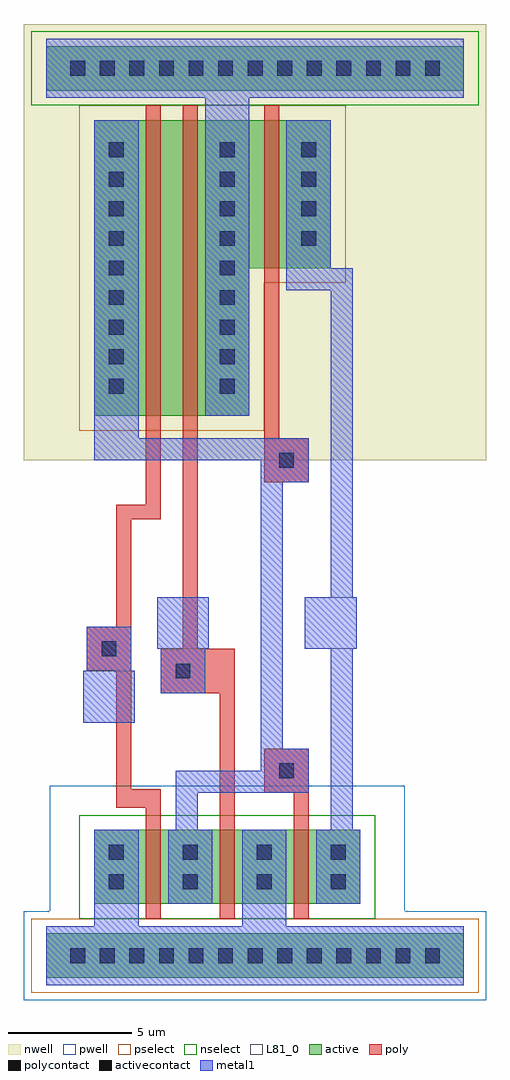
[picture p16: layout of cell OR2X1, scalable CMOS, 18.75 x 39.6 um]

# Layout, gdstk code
import gdstk
lib = gdstk.Library(unit=1e-6, precision=1e-09)
def R(c, l, rs):  # rectangles x0, y0, x1, y1
    for r in rs: c.add(gdstk.rectangle(r[:2], r[2:], *l))
def A(c, l, x, y, w, h, nx, ny, dx, dy):  # array of equal rectangles
    R(c, l, [(x+i*dx, y+j*dy, x+i*dx+w, y+j*dy+h) for i in range(nx) for j in range(ny)])
pwell = (41, 0)
nwell = (42, 0)
active = (43, 0)
pselect = (44, 0)
nselect = (45, 0)
poly = (46, 0)
polycontact = (47, 0)
activecontact = (48, 0)
metal1 = (49, 0)
L81_0 = (81, 0)

or2x1 = lib.new_cell('OR2X1')
R(or2x1, pwell, [(-1.95,-1.8,16.8,1.8), (-0.9,1.8,13.5,6.9)])
R(or2x1, nwell, [(-1.95,20.1,16.8,37.8)])
R(or2x1, active, [(-1.05,-0.9,15.9,0.9), (0.9,2.1,11.7,5.1), (0.9,21.9,7.2,27.9), (0.9,27.9,10.5,33.9), (-1.05,35.1,15.9,36.9)])
R(or2x1, pselect, [(-1.65,-1.5,16.5,1.5), (0.3,21.3,7.8,27.3), (0.3,27.3,11.1,34.5)])
R(or2x1, nselect, [(0.3,1.5,12.3,5.7), (-1.65,34.5,16.5,37.5)])
R(or2x1, poly, [(3,1.5,3.6,6), (6,1.5,6.6,10.65), (9,1.5,9.6,6.6), (1.8,6,3.6,6.75), (7.8,6.6,9.6,8.4), (1.8,6.75,2.4,11.55), (3.6,10.65,6.6,12.45), (0.6,11.55,2.4,13.35), (4.5,12.45,5.1,34.5), (1.8,13.35,2.4,17.7), (1.8,17.7,3.6,18.3), (3,18.3,3.6,34.5), (7.8,19.2,9.6,21), (7.8,21,8.4,34.5)])
R(or2x1, polycontact, [(8.4,7.2,9,7.8), (4.2,11.25,4.8,11.85), (1.2,12.15,1.8,12.75), (8.4,19.8,9,20.4)])
A(or2x1, activecontact, -0.07, -0.3, 0.6, 0.6, 13, 2, 1.2, 36)
A(or2x1, activecontact, 1.5, 2.7, 0.6, 0.6, 4, 2, 3, 1.2)
A(or2x1, activecontact, 1.5, 22.8, 0.6, 0.6, 1, 9, 0, 1.2)
A(or2x1, activecontact, 6, 22.8, 0.6, 0.6, 1, 9, 0, 1.2)
A(or2x1, activecontact, 9.3, 28.8, 0.6, 0.6, 1, 4, 0, 1.2)
R(or2x1, metal1, [(-1.05,-1.2,15.9,1.2), (0.9,1.2,2.7,5.1), (6.9,1.2,8.7,5.1), (3.9,2.1,5.7,5.1), (9.9,2.1,11.7,5.1), (4.2,5.1,5.1,6.6), (10.5,5.1,11.4,12.45), (4.2,6.6,9.6,7.5), (7.65,7.5,9.6,8.4), (7.65,8.4,8.55,19.2), (0.45,9.45,2.55,11.55), (3.6,10.65,5.4,12.45), (0.6,11.55,2.4,13.35), (3.45,12.45,5.55,14.55), (9.45,12.45,11.55,14.55), (10.5,14.55,11.4,27), (7.65,19.2,9.6,20.1), (0.9,20.1,9.6,21), (0.9,21,2.7,33.9), (5.4,21.9,7.2,34.8), (8.7,27,11.4,27.9), (8.7,27.9,10.5,33.9), (-1.05,34.8,15.9,37.2)])
R(or2x1, L81_0, [(0.45,9.45,2.55,11.55), (3.45,12.45,5.55,14.55), (9.45,12.45,11.55,14.55)])

lib.write_gds('OR2X1.gds')
